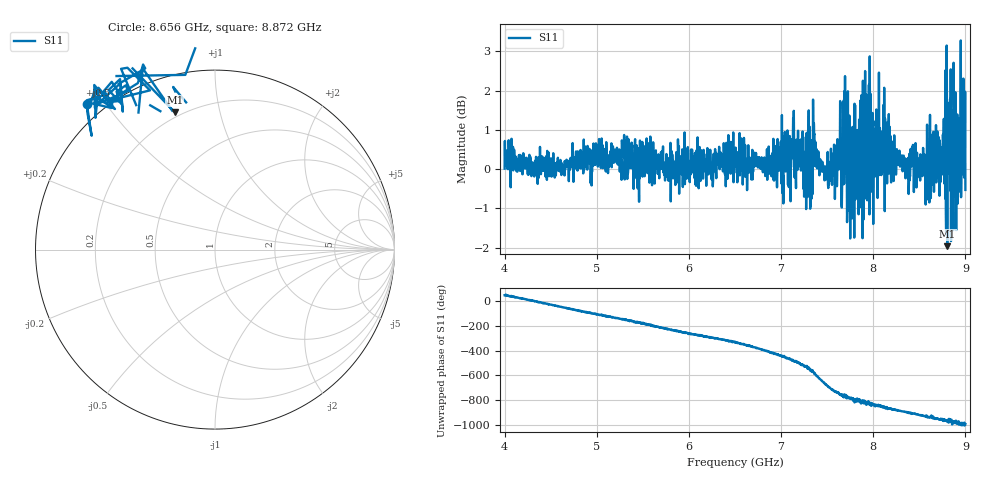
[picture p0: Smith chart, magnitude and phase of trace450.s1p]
! Created with skrf 1.8.0 (http://scikit-rf.org).
# Hz S RI R 50.0
!freq ReS11 ImS11
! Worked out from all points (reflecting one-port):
!   1601 points, 4 GHz to 9 GHz, reference 50 ohm
!   lowest |S11| = -2.0 dB at 8.803 GHz (marker M1), VSWR 8.87, Z = 8.73 + j36.7 ohm
!   phase of S11 starts at 49 deg and turns -1044 deg over the sweep
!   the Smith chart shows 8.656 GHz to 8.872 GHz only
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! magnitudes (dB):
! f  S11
! 4 GHz  0.0
! 4.625 GHz  -0.1
! 5.25 GHz  -0.1
! 5.875 GHz  0.2
! 6.5 GHz  0.4
! 7.097 GHz  -0.1
! 7.125 GHz  0.5
! 7.262 GHz  0.4
! 7.372 GHz  0.7
! 7.512 GHz  -0.5
! 7.644 GHz  0.2
! 7.688 GHz  2.0
! 7.725 GHz  2.0
! 7.75 GHz  -1.8
! 7.769 GHz  -1.1
! 7.847 GHz  1.3
! 7.909 GHz  1.3
! 7.928 GHz  0.9
! 7.962 GHz  2.9
! 7.997 GHz  0.0
! 8.05 GHz  1.2
! 8.134 GHz  -0.1
! 8.375 GHz  0.0
! 8.588 GHz  0.1
! 8.803 GHz  -2.0
! 8.919 GHz  -0.3
! 8.972 GHz  0.5
! 9 GHz  -0.5
